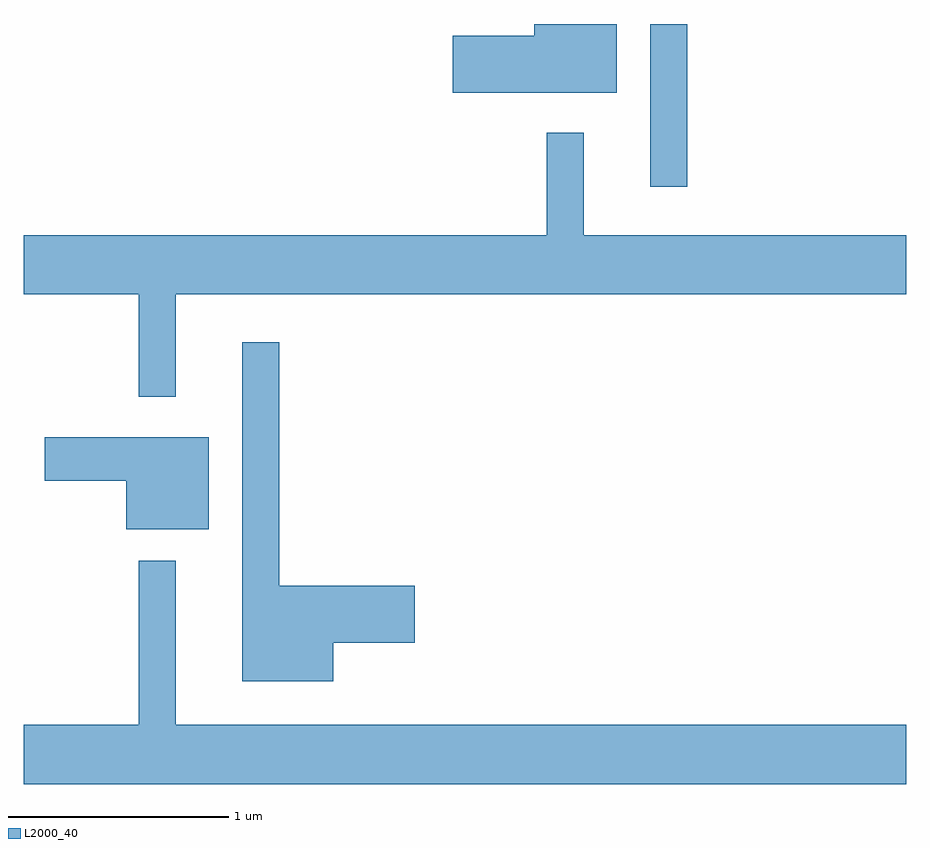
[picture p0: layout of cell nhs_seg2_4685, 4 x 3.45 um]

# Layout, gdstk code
import gdstk
lib = gdstk.Library(unit=1e-6, precision=1e-09)
def R(c, l, rs):  # rectangles x0, y0, x1, y1
    for r in rs: c.add(gdstk.rectangle(r[:2], r[2:], *l))
def P(c, l, *ps):  # polygons
    for p in ps: c.add(gdstk.Polygon(p, *l))
L2000_40 = (2000, 40)

nhs_seg2_4685 = lib.new_cell('nhs_seg2_4685')
R(nhs_seg2_4685, L2000_40, [(326.451,1011.063,326.619,1011.802)])
P(nhs_seg2_4685, L2000_40, [(326.299,1011.802),(325.926,1011.802),(325.926,1011.749),(325.556,1011.749),(325.556,1011.491),(326.299,1011.491)],
  [(324.299,1010.576),(327.611,1010.576),(327.611,1010.844),(326.149,1010.844),(326.149,1011.308),(325.981,1011.308),(325.981,1010.844),(323.611,1010.844),(323.611,1010.576),(324.131,1010.576),(324.131,1010.113),(324.299,1010.113)],
  [(325.014,1008.996),(325.384,1008.996),(325.384,1009.254),(324.769,1009.254),(324.769,1010.358),(324.601,1010.358),(324.601,1008.821),(325.014,1008.821)],
  [(324.449,1009.929),(323.706,1009.929),(323.706,1009.731),(324.076,1009.731),(324.076,1009.511),(324.449,1009.511)],
  [(327.611,1008.624),(324.299,1008.624),(324.299,1009.368),(324.131,1009.368),(324.131,1008.624),(323.611,1008.624),(323.611,1008.356),(327.611,1008.356)])

lib.write_gds('nhs_seg2_4685.gds')
